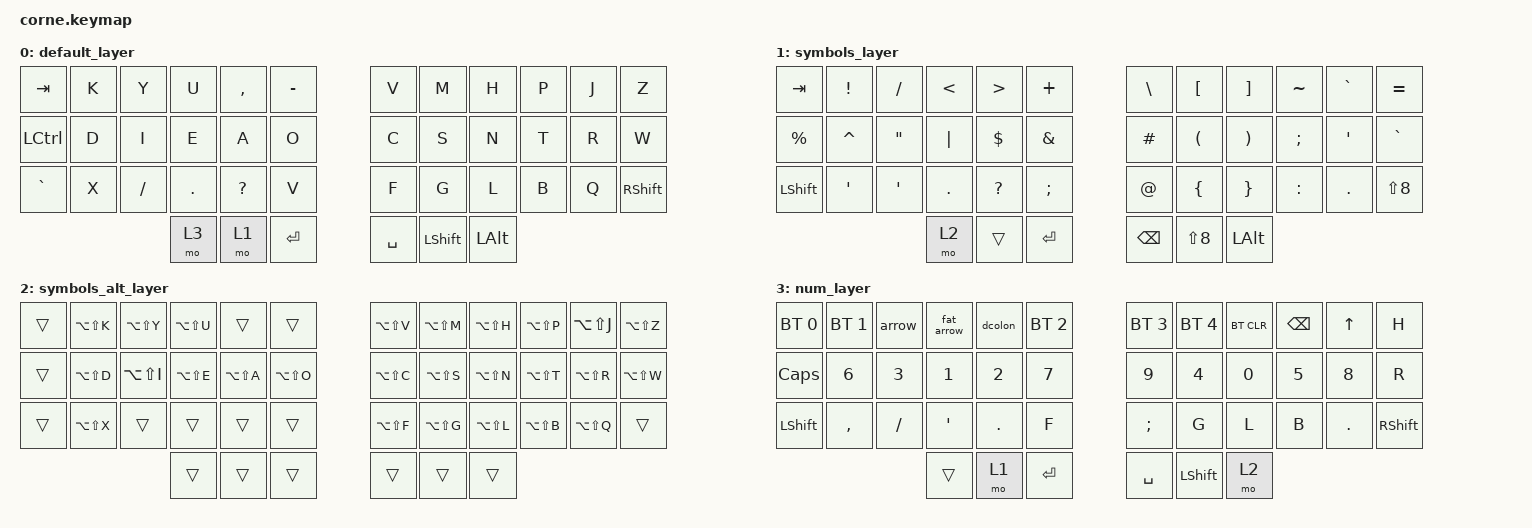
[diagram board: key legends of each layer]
/*
 * Copyright (c) 2020 The ZMK Contributors
 *
 * SPDX-License-Identifier: MIT
 */

#include <behaviors.dtsi>
#include <dt-bindings/zmk/bt.h>
#include <dt-bindings/zmk/keys.h>
#include <dt-bindings/zmk/rgb.h>

/ {
    macros {
        arrow: arrow {
            compatible = "zmk,behavior-macro";
            #binding-cells = <0>;
            wait-ms = <0>;
            tap-ms = <5>;
            bindings = <&kp MINUS &kp GT>;
        };

        dcolon: dcolon {
            compatible = "zmk,behavior-macro";
            #binding-cells = <0>;
            wait-ms = <0>;
            tap-ms = <5>;
            bindings = <&kp COLON &kp COLON>;
        };

        fat_arrow: fat_arrow {
            compatible = "zmk,behavior-macro";
            #binding-cells = <0>;
            wait-ms = <0>;
            tap-ms = <5>;
            bindings = <&kp EQUAL &kp GT>;
        };
    };

    keymap {
        compatible = "zmk,keymap";

        default_layer {
            bindings = <
&kp TAB    &kp K  &kp Y     &kp U      &kp COMMA  &kp MINUS    &kp V     &kp M  &kp H      &kp P    &kp J      &kp Z
&kp LCTRL  &kp D  &kp I     &kp E      &kp A      &kp O        &kp C      &kp S  &kp N      &kp T    &kp R      &kp W
&kp GRAVE  &kp X  &kp FSLH  &kp DOT    &kp QMARK  &kp V        &kp F      &kp G  &kp L      &kp B    &kp Q      &kp RSHFT
                           &mo 3    &mo 1      &kp RET      &kp SPACE  &kp LSHFT  &kp LALT
            >;
        };

        symbols_layer {
            bindings = <
&kp TAB    &kp EXCL   &kp FSLH  &kp LT     &kp GT     &kp PLUS     &kp BSLH   &kp LBKT  &kp RBKT   &kp TILDE  &kp GRAVE  &kp EQUAL
&kp PRCNT  &kp CARET  &kp DQT   &kp PIPE   &kp DLLR   &kp AMPS     &kp HASH   &kp LPAR  &kp RPAR   &kp SEMI   &kp SQT   &kp GRAVE
&kp LSHFT  &kp SQT    &kp SQT   &kp DOT    &kp QMARK  &kp SEMI     &kp AT     &kp LBRC  &kp RBRC   &kp COLON  &kp DOT   &kp LS(N8)
                                &mo 2      &trans     &kp RET      &kp BSPC   &kp LS(N8) &kp LALT
            >;
        };

        symbols_alt_layer {
            bindings = <
&trans      &kp LA(LS(K))  &kp LA(LS(Y))     &kp LA(LS(U))      &trans          &trans        &kp LA(LS(V))  &kp LA(LS(M))  &kp LA(LS(H))      &kp LA(LS(P))    &kp LA(LS(J))      &kp LA(LS(Z))
&trans      &kp LA(LS(D))  &kp LA(LS(I))     &kp LA(LS(E))      &kp LA(LS(A))   &kp LA(LS(O)) &kp LA(LS(C))  &kp LA(LS(S))  &kp LA(LS(N))      &kp LA(LS(T))    &kp LA(LS(R))      &kp LA(LS(W))
&trans      &kp LA(LS(X))  &trans            &trans             &trans          &trans        &kp LA(LS(F))  &kp LA(LS(G))  &kp LA(LS(L))      &kp LA(LS(B))    &kp LA(LS(Q))      &trans
                                      &trans          &trans            &trans             &trans        &trans          &trans
            >;
        };

        num_layer {
            bindings = <
&bt BT_SEL 0 &bt BT_SEL 1 &arrow   &fat_arrow &dcolon  &bt BT_SEL 2 &bt BT_SEL 3 &bt BT_SEL 4 &bt BT_CLR &kp BSPC &kp UP &kp H
&kp CAPS   &kp N6     &kp N3    &kp N1    &kp N2     &kp N7       &kp N9     &kp N4    &kp N0     &kp N5     &kp N8     &kp R
&kp LSHFT  &kp COMMA  &kp FSLH  &kp SQT   &kp DOT    &kp F        &kp SEMI   &kp G     &kp L      &kp B      &kp DOT    &kp RSHFT
                                &trans     &mo 1      &kp RET      &kp SPACE  &kp LSHFT  &mo 2
            >;
        };
    };
};
